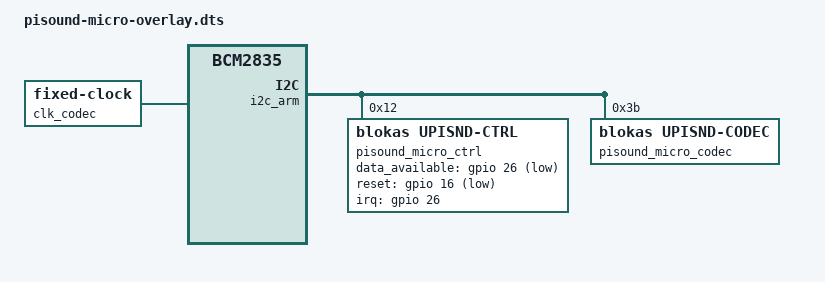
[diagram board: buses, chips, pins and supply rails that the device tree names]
// SPDX-License-Identifier: GPL-2.0-only
/*
 * Pisound Micro Linux kernel module.
 * Copyright (C) 2017-2025  Vilniaus Blokas UAB, https://blokas.io/
 *
 * This program is free software; you can redistribute it and/or
 * modify it under the terms of the GNU General Public License
 * as published by the Free Software Foundation; version 2 of the
 * License.
 *
 * This program is distributed in the hope that it will be useful,
 * but WITHOUT ANY WARRANTY; without even the implied warranty of
 * MERCHANTABILITY or FITNESS FOR A PARTICULAR PURPOSE.  See the
 * GNU General Public License for more details.
 */

/dts-v1/;
/plugin/;

#include <dt-bindings/gpio/gpio.h>
#include <dt-bindings/pinctrl/bcm2835.h>
#include <dt-bindings/interrupt-controller/irq.h>

/ {
	compatible = "brcm,bcm2835";

	fragment@0 {
		target = <&gpio>;
		__overlay__ {
			pisound_micro_pins: pisound_micro_pins {
				brcm,pins = <16 26>;
				brcm,function = <BCM2835_FSEL_GPIO_IN BCM2835_FSEL_GPIO_IN>;
				brcm,pull = <BCM2835_PUD_UP BCM2835_PUD_UP>;
			};
		};
	};

	fragment@1 {
		target-path = "/";
		__overlay__ {
			clk_codec: clk-codec {
				compatible = "fixed-clock";
				#clock-cells = <0>;
				clock-frequency = <12000000>;
				status = "okay";
			};
		};
	};

	fragment@2 {
		target = <&i2c_arm>;
		__overlay__ {
			status = "okay";

			#address-cells = <1>;
			#size-cells = <0>;

			pisound_micro_ctrl: pisound_micro_ctrl@12 {
				compatible = "blokas,upisnd-ctrl";

				pinctrl-names = "default";
				pinctrl-0 = <&pisound_micro_pins>;

				reg = <0x12>;
				status = "okay";

				interrupt-parent = <&gpio>;
				interrupt-controller;
				interrupts = <26 IRQ_TYPE_LEVEL_LOW>;
				interrupt-names = "data_available";

				gpio-controller;
				#gpio-cells = <2>;

				data_available-gpios = <&gpio 26 GPIO_ACTIVE_LOW>;
				reset-gpios = <&gpio 16 GPIO_ACTIVE_LOW>;
			};

			pisound_micro_codec: upisnd_codec@3b {
				#sound-dai-cells = <0>;
				compatible = "blokas,upisnd-codec";
				reg = <0x3b>;

				clock-names = "mclk";
				clocks = <&clk_codec>;

				// Additional options with default values and alternative values:

				//input-mode    = "differential"; // Or "single-ended"

				//hp-out-mode   = "headphone";    // Or "capless-headphone"
								  // Or "line-out"

				//line-out-mode = "line-out";     // Or "headphone"
				//mono-out-mode = "line-out";     // Or "headphone"

				status = "okay";
			};
		};
	};

	fragment@3 {
		target = <&sound>;
		__overlay__ {
			compatible = "blokas,pisound-micro";
			codec = <&pisound_micro_codec>;
			ctrl = <&pisound_micro_ctrl>;
			i2s-controller = <&i2s_clk_consumer>;
			status = "okay";
		};
	};

	fragment@4 {
		target = <&i2s_clk_consumer>;
		__overlay__ {
			status = "okay";
		};
	};

	__overrides__ {
		input-mode=<&pisound_micro_codec>,"input-mode{single-ended,differential}";
		hp-out-mode=<&pisound_micro_codec>,
			"hp-out-mode{capless-headphone,headphone,line-out}";
		line-out-mode=<&pisound_micro_codec>,"line-out-mode{line-out,headphone}";
		mono-out-mode=<&pisound_micro_codec>,"mono-out-mode{line-out,headphone}";
	};

	__exports__ {
		pisound_micro_ctrl;
	};
};

/* vim: set ts=8 sw=8 noexpandtab: */
